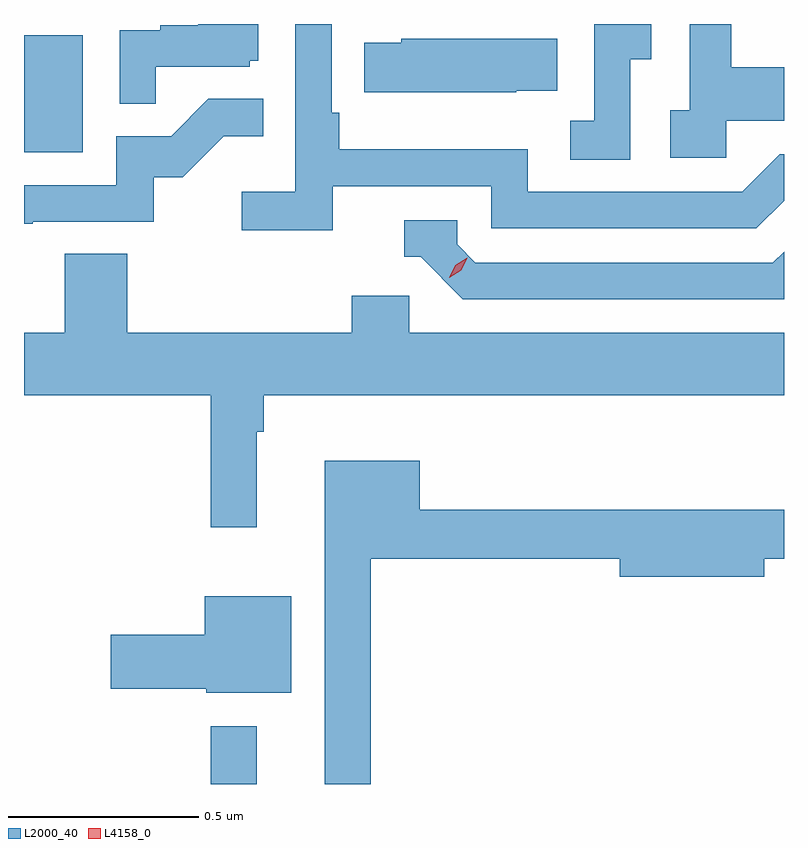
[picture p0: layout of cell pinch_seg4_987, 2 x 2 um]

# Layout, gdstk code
import gdstk
lib = gdstk.Library(unit=1e-6, precision=1e-09)
def R(c, l, rs):  # rectangles x0, y0, x1, y1
    for r in rs: c.add(gdstk.rectangle(r[:2], r[2:], *l))
def P(c, l, *ps):  # polygons
    for p in ps: c.add(gdstk.Polygon(p, *l))
L2000_40 = (2000, 40)
L4158_0 = (4158, 0)

pinch_seg4_987 = lib.new_cell('pinch_seg4_987')
R(pinch_seg4_987, L2000_40, [(863.568,771.821,863.689,771.973), (863.076,773.484,863.23,773.791)])
P(pinch_seg4_987, L2000_40, [(864.672,773.728),(864.727,773.728),(864.727,773.821),(864.576,773.821),(864.576,773.567),(864.513,773.567),(864.513,773.464),(864.672,773.464)],
  [(863.423,773.709),(863.67,773.709),(863.67,773.724),(863.692,773.724),(863.692,773.821),(863.534,773.821),(863.534,773.818),(863.435,773.818),(863.435,773.805),(863.328,773.805),(863.328,773.611),(863.423,773.611)],
  [(864.924,773.567),(865.076,773.567),(865.076,773.707),(864.937,773.707),(864.937,773.821),(864.828,773.821),(864.828,773.594),(864.777,773.594),(864.777,773.469),(864.924,773.469)],
  [(863.888,773.394),(864.306,773.394),(864.306,773.283),(865.003,773.283),(865.076,773.356),(865.076,773.478),(865.065,773.478),(864.966,773.379),(864.402,773.379),(864.402,773.491),(863.906,773.491),(863.906,773.587),(863.886,773.587),(863.886,773.821),(863.79,773.821),(863.79,773.38),(863.649,773.38),(863.649,773.278),(863.888,773.278)],
  [(864.371,773.645),(864.479,773.645),(864.479,773.782),(864.069,773.782),(864.069,773.772),(863.971,773.772),(863.971,773.642),(864.371,773.642)],
  [(863.099,773.301),(863.418,773.301),(863.418,773.418),(863.494,773.418),(863.601,773.525),(863.705,773.525),(863.705,773.624),(863.561,773.624),(863.463,773.526),(863.319,773.526),(863.319,773.397),(863.076,773.397),(863.076,773.296),(863.099,773.296)],
  [(865.076,773.222),(865.047,773.193),(864.264,773.193),(864.216,773.241),(864.216,773.304),(864.077,773.304),(864.077,773.208),(864.12,773.208),(864.231,773.097),(865.076,773.097)],
  [(863.689,772.748),(863.707,772.748),(863.707,772.844),(865.076,772.844),(865.076,773.008),(864.09,773.008),(864.09,773.106),(863.939,773.106),(863.939,773.008),(863.348,773.008),(863.348,773.216),(863.183,773.216),(863.183,773.008),(863.076,773.008),(863.076,772.844),(863.568,772.844),(863.568,772.497),(863.689,772.497)],
  [(863.989,772.414),(864.644,772.414),(864.644,772.367),(865.024,772.367),(865.024,772.414),(865.076,772.414),(865.076,772.543),(864.118,772.543),(864.118,772.672),(863.867,772.672),(863.867,771.821),(863.989,771.821)],
  [(863.779,772.315),(863.552,772.315),(863.552,772.214),(863.304,772.214),(863.304,772.072),(863.556,772.072),(863.556,772.061),(863.779,772.061)])
P(pinch_seg4_987, L4158_0, [(864.195,773.153),(864.195,773.153),(864.211,773.186),(864.242,773.206),(864.242,773.206),(864.242,773.205),(864.226,773.173),(864.195,773.153)])

lib.write_gds('pinch_seg4_987.gds')
